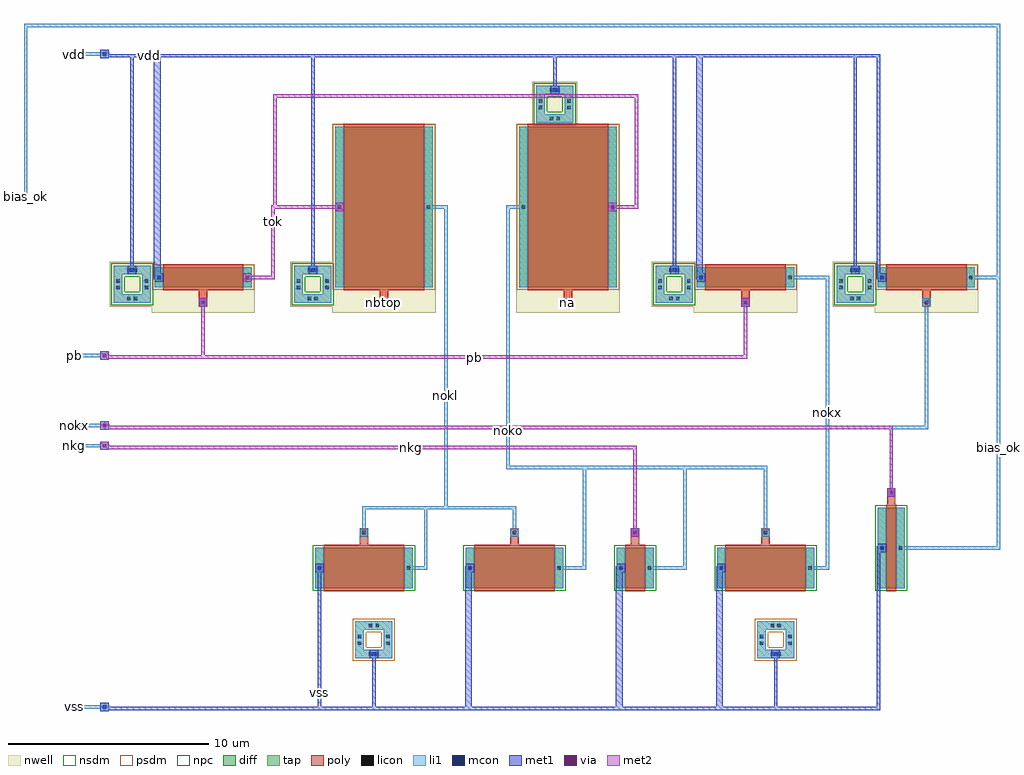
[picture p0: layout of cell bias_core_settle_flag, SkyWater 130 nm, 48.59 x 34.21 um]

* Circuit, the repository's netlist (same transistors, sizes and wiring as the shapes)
* extracted by klt extract --deck sky130

* cell bias_core_settle_flag
* pin bias_ok
* pin na
* pin nbtop
* pin nkg
* pin nokl
* pin noko
* pin nokx
* pin pb
* pin tok
* pin vdd
* pin vss
.SUBCKT bias_core_settle_flag bias_ok na nbtop nkg nokl noko nokx pb tok vdd vss
* device instance $1 r0 *1 10.42,1 nfet
M$1 nokl nokl vss vss nfet L=4U W=2U AS=0.84P AD=0.84P PS=4.84U PD=4.84U
* device instance $2 r0 *1 17.92,1 nfet
M$2 noko nokl vss vss nfet L=4U W=2U AS=0.84P AD=0.84P PS=4.84U PD=4.84U
* device instance $3 r0 *1 23.92,1 nfet
M$3 noko nkg vss vss nfet L=1U W=2U AS=0.84P AD=0.84P PS=4.84U PD=4.84U
* device instance $4 r0 *1 30.42,1 nfet
M$4 nokx noko vss vss nfet L=4U W=2U AS=0.84P AD=0.84P PS=4.84U PD=4.84U
* device instance $5 r0 *1 36.67,2 nfet
M$5 bias_ok nokx vss vss nfet L=0.5U W=4U AS=1.68P AD=1.68P PS=8.84U PD=8.84U
* device instance $6 r0 *1 2.42,15.47 pfet
M$6 tok pb vdd vdd pfet L=4U W=1U AS=0.42P AD=0.42P PS=2.84U PD=2.84U
* device instance $7 r0 *1 29.42,15.47 pfet
M$7 nokx pb vdd vdd pfet L=4U W=1U AS=0.42P AD=0.42P PS=2.84U PD=2.84U
* device instance $8 r0 *1 38.42,15.47 pfet
M$8 bias_ok nokx vdd vdd pfet L=4U W=1U AS=0.42P AD=0.42P PS=2.84U PD=2.84U
* device instance $9 r0 *1 11.42,18.97 pfet
M$9 nokl nbtop tok vdd pfet L=4U W=8U AS=3.36P AD=3.36P PS=16.84U PD=16.84U
* device instance $10 r0 *1 20.58,18.97 pfet
M$10 tok na noko vdd pfet L=4U W=8U AS=3.36P AD=3.36P PS=16.84U PD=16.84U
.ENDS bias_core_settle_flag

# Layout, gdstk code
from math import pi, radians
import gdstk
lib = gdstk.Library(unit=1e-6, precision=1e-09)
def R(c, l, rs):  # rectangles x0, y0, x1, y1
    for r in rs: c.add(gdstk.rectangle(r[:2], r[2:], *l))
def P(c, l, *ps):  # polygons
    for p in ps: c.add(gdstk.Polygon(p, *l))
nwell = (64, 20)
diff = (65, 20)
tap = (65, 44)
poly = (66, 20)
licon = (66, 44)
li1 = (67, 20)
mcon = (67, 44)
met1 = (68, 20)
via = (68, 44)
met2 = (69, 20)
nsdm = (93, 44)
psdm = (94, 20)
npc = (95, 20)

mos_array = lib.new_cell('mos_array')
R(mos_array, nwell, [(-0.15,-0.15,4.99,2.27)])
R(mos_array, diff, [(0,0,4.84,1)])
R(mos_array, poly, [(0.42,-0.15,4.42,1), (0.42,1,4.42,1.15), (0.42,1,4.42,1.15), (2.21,1.15,2.63,1.97)])
R(mos_array, licon, [(0.125,0.415,0.295,0.585), (4.545,0.415,4.715,0.585), (2.335,1.675,2.505,1.845)])
R(mos_array, li1, [(0,0,0.42,1), (4.42,0,4.84,1), (2.21,1.55,2.63,1.97)])
R(mos_array, psdm, [(-0.125,-0.125,4.965,1.125)])
R(mos_array, npc, [(2.24,1.58,2.6,1.94)])

mpok__mpok_pfet = lib.new_cell('mpok__mpok_pfet')
mpok__mpok_pfet.add(gdstk.Reference(mos_array, (0,0)))

mos_array_1 = lib.new_cell('mos_array$1')
R(mos_array_1, nwell, [(-0.15,-0.15,4.99,9.27)])
R(mos_array_1, diff, [(0,0,4.84,8)])
R(mos_array_1, poly, [(0.42,-0.15,4.42,8), (0.42,8,4.42,8.15), (0.42,8,4.42,8.15), (2.21,8.15,2.63,8.97)])
R(mos_array_1, licon, [(0.125,3.915,0.295,4.085), (4.545,3.915,4.715,4.085), (2.335,8.675,2.505,8.845)])
R(mos_array_1, li1, [(0,0,0.42,8), (4.42,0,4.84,8), (2.21,8.55,2.63,8.97)])
R(mos_array_1, psdm, [(-0.125,-0.125,4.965,8.125)])
R(mos_array_1, npc, [(2.24,8.58,2.6,8.94)])

mokb__mokb_pfet = lib.new_cell('mokb__mokb_pfet')
mokb__mokb_pfet.add(gdstk.Reference(mos_array_1, (0,0)))

mos_array_2 = lib.new_cell('mos_array$2')
R(mos_array_2, nwell, [(-0.15,-0.15,4.99,9.27)])
R(mos_array_2, diff, [(0,0,4.84,8)])
R(mos_array_2, poly, [(0.42,-0.15,4.42,8), (0.42,8,4.42,8.15), (0.42,8,4.42,8.15), (2.21,8.15,2.63,8.97)])
R(mos_array_2, licon, [(0.125,3.915,0.295,4.085), (4.545,3.915,4.715,4.085), (2.335,8.675,2.505,8.845)])
R(mos_array_2, li1, [(0,0,0.42,8), (4.42,0,4.84,8), (2.21,8.55,2.63,8.97)])
R(mos_array_2, psdm, [(-0.125,-0.125,4.965,8.125)])
R(mos_array_2, npc, [(2.24,8.58,2.6,8.94)])

moka__moka_pfet = lib.new_cell('moka__moka_pfet')
moka__moka_pfet.add(gdstk.Reference(mos_array_2, (0,0)))

mos_array_3 = lib.new_cell('mos_array$3')
R(mos_array_3, nwell, [(-0.15,-0.15,4.99,2.27)])
R(mos_array_3, diff, [(0,0,4.84,1)])
R(mos_array_3, poly, [(0.42,-0.15,4.42,1), (0.42,1,4.42,1.15), (0.42,1,4.42,1.15), (2.21,1.15,2.63,1.97)])
R(mos_array_3, licon, [(0.125,0.415,0.295,0.585), (4.545,0.415,4.715,0.585), (2.335,1.675,2.505,1.845)])
R(mos_array_3, li1, [(0,0,0.42,1), (4.42,0,4.84,1), (2.21,1.55,2.63,1.97)])
R(mos_array_3, psdm, [(-0.125,-0.125,4.965,1.125)])
R(mos_array_3, npc, [(2.24,1.58,2.6,1.94)])

mok2p__mok2p_pfet = lib.new_cell('mok2p__mok2p_pfet')
mok2p__mok2p_pfet.add(gdstk.Reference(mos_array_3, (0,0)))

mos_array_4 = lib.new_cell('mos_array$4')
R(mos_array_4, nwell, [(-0.15,-0.15,4.99,2.27)])
R(mos_array_4, diff, [(0,0,4.84,1)])
R(mos_array_4, poly, [(0.42,-0.15,4.42,1), (0.42,1,4.42,1.15), (0.42,1,4.42,1.15), (2.21,1.15,2.63,1.97)])
R(mos_array_4, licon, [(0.125,0.415,0.295,0.585), (4.545,0.415,4.715,0.585), (2.335,1.675,2.505,1.845)])
R(mos_array_4, li1, [(0,0,0.42,1), (4.42,0,4.84,1), (2.21,1.55,2.63,1.97)])
R(mos_array_4, psdm, [(-0.125,-0.125,4.965,1.125)])
R(mos_array_4, npc, [(2.24,1.58,2.6,1.94)])

mo1p__mo1p_pfet = lib.new_cell('mo1p__mo1p_pfet')
mo1p__mo1p_pfet.add(gdstk.Reference(mos_array_4, (0,0)))

mos_array_5 = lib.new_cell('mos_array$5')
R(mos_array_5, diff, [(0,0,4.84,2)])
R(mos_array_5, poly, [(0.42,-0.15,4.42,2), (0.42,2,4.42,2.15), (0.42,2,4.42,2.15), (2.21,2.15,2.63,2.97)])
R(mos_array_5, licon, [(0.125,0.915,0.295,1.085), (4.545,0.915,4.715,1.085), (2.335,2.675,2.505,2.845)])
R(mos_array_5, li1, [(0,0,0.42,2), (4.42,0,4.84,2), (2.21,2.55,2.63,2.97)])
R(mos_array_5, nsdm, [(-0.125,-0.125,4.965,2.125)])
R(mos_array_5, npc, [(2.24,2.58,2.6,2.94)])

mol1__mol1_nfet = lib.new_cell('mol1__mol1_nfet')
mol1__mol1_nfet.add(gdstk.Reference(mos_array_5, (0,0)))

mos_array_6 = lib.new_cell('mos_array$6')
R(mos_array_6, diff, [(0,0,4.84,2)])
R(mos_array_6, poly, [(0.42,-0.15,4.42,2), (0.42,2,4.42,2.15), (0.42,2,4.42,2.15), (2.21,2.15,2.63,2.97)])
R(mos_array_6, licon, [(0.125,0.915,0.295,1.085), (4.545,0.915,4.715,1.085), (2.335,2.675,2.505,2.845)])
R(mos_array_6, li1, [(0,0,0.42,2), (4.42,0,4.84,2), (2.21,2.55,2.63,2.97)])
R(mos_array_6, nsdm, [(-0.125,-0.125,4.965,2.125)])
R(mos_array_6, npc, [(2.24,2.58,2.6,2.94)])

mol2__mol2_nfet = lib.new_cell('mol2__mol2_nfet')
mol2__mol2_nfet.add(gdstk.Reference(mos_array_6, (0,0)))

mos_array_7 = lib.new_cell('mos_array$7')
R(mos_array_7, diff, [(0,0,1.84,2)])
R(mos_array_7, poly, [(0.42,-0.15,1.42,2), (0.42,2,1.42,2.15), (0.42,2,1.42,2.15), (0.71,2.15,1.13,2.97)])
R(mos_array_7, licon, [(0.125,0.915,0.295,1.085), (1.545,0.915,1.715,1.085), (0.835,2.675,1.005,2.845)])
R(mos_array_7, li1, [(0,0,0.42,2), (1.42,0,1.84,2), (0.71,2.55,1.13,2.97)])
R(mos_array_7, nsdm, [(-0.125,-0.125,1.965,2.125)])
R(mos_array_7, npc, [(0.74,2.58,1.1,2.94)])

mokc__mokc_nfet = lib.new_cell('mokc__mokc_nfet')
mokc__mokc_nfet.add(gdstk.Reference(mos_array_7, (0,0)))

mos_array_8 = lib.new_cell('mos_array$8')
R(mos_array_8, diff, [(0,0,4.84,2)])
R(mos_array_8, poly, [(0.42,-0.15,4.42,2), (0.42,2,4.42,2.15), (0.42,2,4.42,2.15), (2.21,2.15,2.63,2.97)])
R(mos_array_8, licon, [(0.125,0.915,0.295,1.085), (4.545,0.915,4.715,1.085), (2.335,2.675,2.505,2.845)])
R(mos_array_8, li1, [(0,0,0.42,2), (4.42,0,4.84,2), (2.21,2.55,2.63,2.97)])
R(mos_array_8, nsdm, [(-0.125,-0.125,4.965,2.125)])
R(mos_array_8, npc, [(2.24,2.58,2.6,2.94)])

mok2__mok2_nfet = lib.new_cell('mok2__mok2_nfet')
mok2__mok2_nfet.add(gdstk.Reference(mos_array_8, (0,0)))

mos_array_9 = lib.new_cell('mos_array$9')
R(mos_array_9, diff, [(0,0,1.34,4)])
R(mos_array_9, poly, [(0.42,-0.15,0.92,4), (0.42,4,0.92,4.15), (0.42,4,0.92,4.15), (0.46,4.15,0.88,4.97)])
R(mos_array_9, licon, [(0.125,1.915,0.295,2.085), (1.045,1.915,1.215,2.085), (0.585,4.675,0.755,4.845)])
R(mos_array_9, li1, [(0,0,0.42,4), (0.92,0,1.34,4), (0.46,4.55,0.88,4.97)])
R(mos_array_9, nsdm, [(-0.125,-0.125,1.465,4.125)])
R(mos_array_9, npc, [(0.49,4.58,0.85,4.94)])

mo1n__mo1n_nfet = lib.new_cell('mo1n__mo1n_nfet')
mo1n__mo1n_nfet.add(gdstk.Reference(mos_array_9, (0,0)))

guard_ring = lib.new_cell('guard_ring')
R(guard_ring, nwell, [(-0.2,-0.2,2.04,2.04)])
P(guard_ring, tap, [(0,0),(0,1.42),(0.42,1.42),(0.42,0.42),(1.42,0.42),(1.42,1.42),(0,1.42),(0,1.84),(1.84,1.84),(1.84,0)])
R(guard_ring, licon, [(0.67,0.125,0.84,0.295), (1,0.125,1.17,0.295), (0.125,0.67,0.295,0.84), (1.545,0.67,1.715,0.84), (0.125,1,0.295,1.17), (1.545,1,1.715,1.17), (0.67,1.545,0.84,1.715), (1,1.545,1.17,1.715)])
P(guard_ring, li1, [(0,0),(0,1.42),(0.42,1.42),(0.42,0.42),(1.42,0.42),(1.42,1.42),(0,1.42),(0,1.84),(1.84,1.84),(1.84,0)])
P(guard_ring, nsdm, [(-0.125,-0.125),(-0.125,1.295),(0.545,1.295),(0.545,0.545),(1.295,0.545),(1.295,1.295),(-0.125,1.295),(-0.125,1.965),(1.965,1.965),(1.965,-0.125)])

nwt_mpok__nwt_mpok = lib.new_cell('nwt_mpok__nwt_mpok')
nwt_mpok__nwt_mpok.add(gdstk.Reference(guard_ring, (0,0)))

guard_ring_1 = lib.new_cell('guard_ring$1')
R(guard_ring_1, nwell, [(-0.2,-0.2,2.04,2.04)])
P(guard_ring_1, tap, [(0,0),(0,1.42),(0.42,1.42),(0.42,0.42),(1.42,0.42),(1.42,1.42),(0,1.42),(0,1.84),(1.84,1.84),(1.84,0)])
R(guard_ring_1, licon, [(0.67,0.125,0.84,0.295), (1,0.125,1.17,0.295), (0.125,0.67,0.295,0.84), (1.545,0.67,1.715,0.84), (0.125,1,0.295,1.17), (1.545,1,1.715,1.17), (0.67,1.545,0.84,1.715), (1,1.545,1.17,1.715)])
P(guard_ring_1, li1, [(0,0),(0,1.42),(0.42,1.42),(0.42,0.42),(1.42,0.42),(1.42,1.42),(0,1.42),(0,1.84),(1.84,1.84),(1.84,0)])
P(guard_ring_1, nsdm, [(-0.125,-0.125),(-0.125,1.295),(0.545,1.295),(0.545,0.545),(1.295,0.545),(1.295,1.295),(-0.125,1.295),(-0.125,1.965),(1.965,1.965),(1.965,-0.125)])

nwt_mokb__nwt_mokb = lib.new_cell('nwt_mokb__nwt_mokb')
nwt_mokb__nwt_mokb.add(gdstk.Reference(guard_ring_1, (0,0)))

guard_ring_2 = lib.new_cell('guard_ring$2')
R(guard_ring_2, nwell, [(-0.2,-0.2,2.04,2.04)])
P(guard_ring_2, tap, [(0,0),(0,1.42),(0.42,1.42),(0.42,0.42),(1.42,0.42),(1.42,1.42),(0,1.42),(0,1.84),(1.84,1.84),(1.84,0)])
R(guard_ring_2, licon, [(0.67,0.125,0.84,0.295), (1,0.125,1.17,0.295), (0.125,0.67,0.295,0.84), (1.545,0.67,1.715,0.84), (0.125,1,0.295,1.17), (1.545,1,1.715,1.17), (0.67,1.545,0.84,1.715), (1,1.545,1.17,1.715)])
P(guard_ring_2, li1, [(0,0),(0,1.42),(0.42,1.42),(0.42,0.42),(1.42,0.42),(1.42,1.42),(0,1.42),(0,1.84),(1.84,1.84),(1.84,0)])
P(guard_ring_2, nsdm, [(-0.125,-0.125),(-0.125,1.295),(0.545,1.295),(0.545,0.545),(1.295,0.545),(1.295,1.295),(-0.125,1.295),(-0.125,1.965),(1.965,1.965),(1.965,-0.125)])

nwt_moka__nwt_moka = lib.new_cell('nwt_moka__nwt_moka')
nwt_moka__nwt_moka.add(gdstk.Reference(guard_ring_2, (0,0)))

guard_ring_3 = lib.new_cell('guard_ring$3')
R(guard_ring_3, nwell, [(-0.2,-0.2,2.04,2.04)])
P(guard_ring_3, tap, [(0,0),(0,1.42),(0.42,1.42),(0.42,0.42),(1.42,0.42),(1.42,1.42),(0,1.42),(0,1.84),(1.84,1.84),(1.84,0)])
R(guard_ring_3, licon, [(0.67,0.125,0.84,0.295), (1,0.125,1.17,0.295), (0.125,0.67,0.295,0.84), (1.545,0.67,1.715,0.84), (0.125,1,0.295,1.17), (1.545,1,1.715,1.17), (0.67,1.545,0.84,1.715), (1,1.545,1.17,1.715)])
P(guard_ring_3, li1, [(0,0),(0,1.42),(0.42,1.42),(0.42,0.42),(1.42,0.42),(1.42,1.42),(0,1.42),(0,1.84),(1.84,1.84),(1.84,0)])
P(guard_ring_3, nsdm, [(-0.125,-0.125),(-0.125,1.295),(0.545,1.295),(0.545,0.545),(1.295,0.545),(1.295,1.295),(-0.125,1.295),(-0.125,1.965),(1.965,1.965),(1.965,-0.125)])

nwt_mok2p__nwt_mok2p = lib.new_cell('nwt_mok2p__nwt_mok2p')
nwt_mok2p__nwt_mok2p.add(gdstk.Reference(guard_ring_3, (0,0)))

guard_ring_4 = lib.new_cell('guard_ring$4')
R(guard_ring_4, nwell, [(-0.2,-0.2,2.04,2.04)])
P(guard_ring_4, tap, [(0,0),(0,1.42),(0.42,1.42),(0.42,0.42),(1.42,0.42),(1.42,1.42),(0,1.42),(0,1.84),(1.84,1.84),(1.84,0)])
R(guard_ring_4, licon, [(0.67,0.125,0.84,0.295), (1,0.125,1.17,0.295), (0.125,0.67,0.295,0.84), (1.545,0.67,1.715,0.84), (0.125,1,0.295,1.17), (1.545,1,1.715,1.17), (0.67,1.545,0.84,1.715), (1,1.545,1.17,1.715)])
P(guard_ring_4, li1, [(0,0),(0,1.42),(0.42,1.42),(0.42,0.42),(1.42,0.42),(1.42,1.42),(0,1.42),(0,1.84),(1.84,1.84),(1.84,0)])
P(guard_ring_4, nsdm, [(-0.125,-0.125),(-0.125,1.295),(0.545,1.295),(0.545,0.545),(1.295,0.545),(1.295,1.295),(-0.125,1.295),(-0.125,1.965),(1.965,1.965),(1.965,-0.125)])

nwt_mo1p__nwt_mo1p = lib.new_cell('nwt_mo1p__nwt_mo1p')
nwt_mo1p__nwt_mo1p.add(gdstk.Reference(guard_ring_4, (0,0)))

guard_ring_5 = lib.new_cell('guard_ring$5')
P(guard_ring_5, tap, [(0,0),(0,1.42),(0.42,1.42),(0.42,0.42),(1.42,0.42),(1.42,1.42),(0,1.42),(0,1.84),(1.84,1.84),(1.84,0)])
R(guard_ring_5, licon, [(0.67,0.125,0.84,0.295), (1,0.125,1.17,0.295), (0.125,0.67,0.295,0.84), (1.545,0.67,1.715,0.84), (0.125,1,0.295,1.17), (1.545,1,1.715,1.17), (0.67,1.545,0.84,1.715), (1,1.545,1.17,1.715)])
P(guard_ring_5, li1, [(0,0),(0,1.42),(0.42,1.42),(0.42,0.42),(1.42,0.42),(1.42,1.42),(0,1.42),(0,1.84),(1.84,1.84),(1.84,0)])
P(guard_ring_5, psdm, [(-0.125,-0.125),(-0.125,1.295),(0.545,1.295),(0.545,0.545),(1.295,0.545),(1.295,1.295),(-0.125,1.295),(-0.125,1.965),(1.965,1.965),(1.965,-0.125)])

pst1__pst1 = lib.new_cell('pst1__pst1')
pst1__pst1.add(gdstk.Reference(guard_ring_5, (0,0)))

guard_ring_6 = lib.new_cell('guard_ring$6')
P(guard_ring_6, tap, [(0,0),(0,1.42),(0.42,1.42),(0.42,0.42),(1.42,0.42),(1.42,1.42),(0,1.42),(0,1.84),(1.84,1.84),(1.84,0)])
R(guard_ring_6, licon, [(0.67,0.125,0.84,0.295), (1,0.125,1.17,0.295), (0.125,0.67,0.295,0.84), (1.545,0.67,1.715,0.84), (0.125,1,0.295,1.17), (1.545,1,1.715,1.17), (0.67,1.545,0.84,1.715), (1,1.545,1.17,1.715)])
P(guard_ring_6, li1, [(0,0),(0,1.42),(0.42,1.42),(0.42,0.42),(1.42,0.42),(1.42,1.42),(0,1.42),(0,1.84),(1.84,1.84),(1.84,0)])
P(guard_ring_6, psdm, [(-0.125,-0.125),(-0.125,1.295),(0.545,1.295),(0.545,0.545),(1.295,0.545),(1.295,1.295),(-0.125,1.295),(-0.125,1.965),(1.965,1.965),(1.965,-0.125)])

pst2__pst2 = lib.new_cell('pst2__pst2')
pst2__pst2.add(gdstk.Reference(guard_ring_6, (0,0)))

stub_vdd__promo_stub = lib.new_cell('stub_vdd__promo_stub')
R(stub_vdd__promo_stub, li1, [(0,0,1.5,0.17)])

stub_vss__promo_stub = lib.new_cell('stub_vss__promo_stub')
R(stub_vss__promo_stub, li1, [(0,0,1.5,0.17)])

stub_pb__promo_stub = lib.new_cell('stub_pb__promo_stub')
R(stub_pb__promo_stub, li1, [(0,0,1.5,0.17)])

stub_nokx__promo_stub = lib.new_cell('stub_nokx__promo_stub')
R(stub_nokx__promo_stub, li1, [(0,0,1.5,0.17)])

stub_nkg__promo_stub = lib.new_cell('stub_nkg__promo_stub')
R(stub_nkg__promo_stub, li1, [(0,0,1.5,0.17)])

stub_bias_ok__promo_stub = lib.new_cell('stub_bias_ok__promo_stub_v')
R(stub_bias_ok__promo_stub, li1, [(0,0,0.17,1.5)])

bias_core_settle_flag = lib.new_cell('bias_core_settle_flag')
R(bias_core_settle_flag, li1, [(-2.71,-6.125,-2.29,-5.705), (10.71,-3.5,11.13,-3.08), (10.71,-3.5,11.13,-3.08), (30.71,-3.5,31.13,-3.08), (30.71,-3.5,31.13,-3.08), (8,0.79,8.42,1.21), (8,0.79,8.42,1.21), (15.5,0.79,15.92,1.21), (15.5,0.79,15.92,1.21), (23,0.79,23.42,1.21), (23,0.79,23.42,1.21), (28,0.79,28.42,1.21), (28,0.79,28.42,1.21), (36,1.79,36.42,2.21), (23.71,2.55,24.13,2.97), (10.21,2.76,10.63,2.93), (10.21,2.76,10.63,2.93), (17.71,2.76,18.13,2.93), (17.71,2.76,18.13,2.93), (30.21,2.76,30.63,2.93), (36.46,4.55,36.88,4.97), (36.46,4.76,36.88,4.93), (36.46,4.76,36.88,4.93), (-2.71,6.875,-2.29,7.295), (-2.71,7.875,-2.29,8.295), (-2.71,11.375,-2.29,11.795), (2.21,14,2.63,14.42), (2.21,14,2.63,14.42), (29.21,14,29.63,14.42), (38.21,14.04,38.63,14.21), (0,15.26,0.42,15.68), (0,15.26,0.42,15.68), (4.42,15.26,4.84,15.68), (27,15.26,27.42,15.68), (27,15.26,27.42,15.68), (36,15.26,36.42,15.68), (-1.33,15.62,-0.91,16.04), (-1.33,15.62,-0.91,16.04), (7.67,15.62,8.09,16.04), (7.67,15.62,8.09,16.04), (25.67,15.62,26.09,16.04), (25.67,15.62,26.09,16.04), (34.67,15.62,35.09,16.04), (34.67,15.62,35.09,16.04), (9,18.76,9.42,19.18), (9,18.76,9.42,19.18), (22.58,18.76,23,19.18), (19.72,24.59,20.14,25.01), (19.72,24.59,20.14,25.01), (-2.71,26.375,-2.29,26.795)])
R(bias_core_settle_flag, mcon, [(-2.585,-6,-2.415,-5.83), (10.835,-3.375,11.005,-3.205), (10.835,-3.375,11.005,-3.205), (30.835,-3.375,31.005,-3.205), (30.835,-3.375,31.005,-3.205), (8.125,0.915,8.295,1.085), (8.125,0.915,8.295,1.085), (15.625,0.915,15.795,1.085), (15.625,0.915,15.795,1.085), (23.125,0.915,23.295,1.085), (23.125,0.915,23.295,1.085), (28.125,0.915,28.295,1.085), (28.125,0.915,28.295,1.085), (36.125,1.915,36.295,2.085), (23.835,2.675,24.005,2.845), (36.585,4.675,36.755,4.845), (-2.585,7,-2.415,7.17), (-2.585,8,-2.415,8.17), (-2.585,11.5,-2.415,11.67), (2.335,14.125,2.505,14.295), (2.335,14.125,2.505,14.295), (29.335,14.125,29.505,14.295), (0.125,15.385,0.295,15.555), (0.125,15.385,0.295,15.555), (4.545,15.385,4.715,15.555), (27.125,15.385,27.295,15.555), (27.125,15.385,27.295,15.555), (36.125,15.385,36.295,15.555), (-1.205,15.745,-1.035,15.915), (-1.205,15.745,-1.035,15.915), (7.795,15.745,7.965,15.915), (7.795,15.745,7.965,15.915), (25.795,15.745,25.965,15.915), (25.795,15.745,25.965,15.915), (34.795,15.745,34.965,15.915), (34.795,15.745,34.965,15.915), (9.125,18.885,9.295,19.055), (9.125,18.885,9.295,19.055), (22.705,18.885,22.875,19.055), (19.845,24.715,20.015,24.885), (19.845,24.715,20.015,24.885), (-2.585,26.5,-2.415,26.67)])
R(bias_core_settle_flag, met1, [(-2.71,-6.125,-2.29,-5.705), (10.71,-3.5,11.13,-3.08), (10.71,-3.5,11.13,-3.08), (30.71,-3.5,31.13,-3.08), (30.71,-3.5,31.13,-3.08), (8,0.79,8.42,1.21), (8,0.79,8.42,1.21), (15.5,0.79,15.92,1.21), (15.5,0.79,15.92,1.21), (23,0.79,23.42,1.21), (23,0.79,23.42,1.21), (28,0.79,28.42,1.21), (28,0.79,28.42,1.21), (36,1.79,36.42,2.21), (23.71,2.55,24.13,2.97), (23.71,2.55,24.13,2.97), (36.46,4.55,36.88,4.97), (36.46,4.55,36.88,4.97), (-2.71,6.875,-2.29,7.295), (-2.71,6.875,-2.29,7.295), (-2.71,7.875,-2.29,8.295), (-2.71,7.875,-2.29,8.295), (-2.71,11.375,-2.29,11.795), (-2.71,11.375,-2.29,11.795), (2.21,14,2.63,14.42), (2.21,14,2.63,14.42), (2.21,14,2.63,14.42), (2.21,14,2.63,14.42), (29.21,14,29.63,14.42), (29.21,14,29.63,14.42), (0,15.26,0.42,15.68), (0,15.26,0.42,15.68), (4.42,15.26,4.84,15.68), (4.42,15.26,4.84,15.68), (27,15.26,27.42,15.68), (27,15.26,27.42,15.68), (36,15.26,36.42,15.68), (-1.33,15.62,-0.91,16.04), (-1.33,15.62,-0.91,16.04), (7.67,15.62,8.09,16.04), (7.67,15.62,8.09,16.04), (25.67,15.62,26.09,16.04), (25.67,15.62,26.09,16.04), (34.67,15.62,35.09,16.04), (34.67,15.62,35.09,16.04), (9,18.76,9.42,19.18), (9,18.76,9.42,19.18), (9,18.76,9.42,19.18), (9,18.76,9.42,19.18), (22.58,18.76,23,19.18), (22.58,18.76,23,19.18), (19.72,24.59,20.14,25.01), (19.72,24.59,20.14,25.01), (-2.71,26.375,-2.29,26.795)])
R(bias_core_settle_flag, via, [(23.845,2.685,23.995,2.835), (36.595,4.685,36.745,4.835), (-2.575,7.01,-2.425,7.16), (-2.575,8.01,-2.425,8.16), (-2.575,11.51,-2.425,11.66), (2.345,14.135,2.495,14.285), (2.345,14.135,2.495,14.285), (29.345,14.135,29.495,14.285), (4.555,15.395,4.705,15.545), (9.135,18.895,9.285,19.045), (9.135,18.895,9.285,19.045), (22.715,18.895,22.865,19.045)])
R(bias_core_settle_flag, met2, [(23.71,2.55,24.13,2.97), (36.46,4.55,36.88,4.97), (-2.71,6.875,-2.29,7.295), (-2.71,7.875,-2.29,8.295), (-2.71,11.375,-2.29,11.795), (2.21,14,2.63,14.42), (2.21,14,2.63,14.42), (29.21,14,29.63,14.42), (4.42,15.26,4.84,15.68), (9,18.76,9.42,19.18), (9,18.76,9.42,19.18), (22.58,18.76,23,19.18)])
bias_core_settle_flag.add(gdstk.FlexPath([(13.63,18.97),(14.5,18.97),(14.5,4),(17.92,4),(17.92,2.76)], 0.17, ends="flush", simple_path=True, layer=67, datatype=20))  # li1
bias_core_settle_flag.add(gdstk.FlexPath([(17.92,2.76),(17.92,4),(10.42,4),(10.42,2.76)], 0.17, ends="flush", simple_path=True, layer=67, datatype=20))  # li1
bias_core_settle_flag.add(gdstk.FlexPath([(10.42,2.76),(10.42,4),(13.5,4),(13.5,1),(12.63,1)], 0.17, ends="flush", simple_path=True, layer=67, datatype=20))  # li1
bias_core_settle_flag.add(gdstk.FlexPath([(18.37,18.97),(17.6,18.97),(17.6,6),(21.4,6),(21.4,1),(20.13,1)], 0.17, ends="flush", simple_path=True, layer=67, datatype=20))  # li1
bias_core_settle_flag.add(gdstk.FlexPath([(20.13,1),(21.4,1),(21.4,6),(26.4,6),(26.4,1),(24.63,1)], 0.17, ends="flush", simple_path=True, layer=67, datatype=20))  # li1
bias_core_settle_flag.add(gdstk.FlexPath([(24.63,1),(26.4,1),(26.4,6),(30.42,6),(30.42,2.76)], 0.17, ends="flush", simple_path=True, layer=67, datatype=20))  # li1
bias_core_settle_flag.add(gdstk.FlexPath([(31.63,15.47),(33.5,15.47),(33.5,1),(32.63,1)], 0.17, ends="flush", simple_path=True, layer=67, datatype=20))  # li1
bias_core_settle_flag.add(gdstk.FlexPath([(32.63,1),(33.5,1),(33.5,8),(36.67,8),(36.67,4.76)], 0.17, ends="flush", simple_path=True, layer=67, datatype=20))  # li1
bias_core_settle_flag.add(gdstk.FlexPath([(36.67,4.76),(36.67,8),(38.42,8),(38.42,14.21)], 0.17, ends="flush", simple_path=True, layer=67, datatype=20))  # li1
bias_core_settle_flag.add(gdstk.FlexPath([(40.63,15.47),(42,15.47),(42,2),(37.13,2)], 0.17, ends="flush", simple_path=True, layer=67, datatype=20))  # li1
bias_core_settle_flag.add(gdstk.FlexPath([(40.63,15.47),(42,15.47),(42,28),(-6.415,28),(-6.415,21)], 0.17, ends="flush", simple_path=True, layer=67, datatype=20))  # li1
bias_core_settle_flag.add(gdstk.FlexPath([(-1.12,15.83),(-1.12,26.5),(0.04,26.5),(0.04,15.47),(0.21,15.47)], 0.17, ends="flush", simple_path=True, layer=68, datatype=20))  # met1
bias_core_settle_flag.add(gdstk.FlexPath([(0.21,15.47),(0.21,26.5),(7.88,26.5),(7.88,15.83)], 0.17, ends="flush", simple_path=True, layer=68, datatype=20))  # met1
bias_core_settle_flag.add(gdstk.FlexPath([(7.88,15.83),(7.88,26.5),(19.93,26.5),(19.93,24.8)], 0.17, ends="flush", simple_path=True, layer=68, datatype=20))  # met1
bias_core_settle_flag.add(gdstk.FlexPath([(19.93,24.8),(19.93,26.5),(25.88,26.5),(25.88,15.83)], 0.17, ends="flush", simple_path=True, layer=68, datatype=20))  # met1
bias_core_settle_flag.add(gdstk.FlexPath([(25.88,15.83),(25.88,26.5),(27.04,26.5),(27.04,15.47),(27.21,15.47)], 0.17, ends="flush", simple_path=True, layer=68, datatype=20))  # met1
bias_core_settle_flag.add(gdstk.FlexPath([(27.21,15.47),(27.21,26.5),(34.88,26.5),(34.88,15.83)], 0.17, ends="flush", simple_path=True, layer=68, datatype=20))  # met1
bias_core_settle_flag.add(gdstk.FlexPath([(34.88,15.83),(34.88,26.5),(36.04,26.5),(36.04,15.47),(36.21,15.47)], 0.17, ends="flush", simple_path=True, layer=68, datatype=20))  # met1
bias_core_settle_flag.add(gdstk.FlexPath([(-1.12,15.83),(-1.12,26.5),(-2.33,26.5),(-2.33,26.585),(-2.5,26.585)], 0.17, ends="flush", simple_path=True, layer=68, datatype=20))  # met1
bias_core_settle_flag.add(gdstk.FlexPath([(8.21,1),(8.21,-6),(10.92,-6),(10.92,-3.29)], 0.17, ends="flush", simple_path=True, layer=68, datatype=20))  # met1
bias_core_settle_flag.add(gdstk.FlexPath([(10.92,-3.29),(10.92,-6),(15.54,-6),(15.54,1),(15.71,1)], 0.17, ends="flush", simple_path=True, layer=68, datatype=20))  # met1
bias_core_settle_flag.add(gdstk.FlexPath([(15.71,1),(15.71,-6),(23.04,-6),(23.04,1),(23.21,1)], 0.17, ends="flush", simple_path=True, layer=68, datatype=20))  # met1
bias_core_settle_flag.add(gdstk.FlexPath([(23.21,1),(23.21,-6),(28.04,-6),(28.04,1),(28.21,1)], 0.17, ends="flush", simple_path=True, layer=68, datatype=20))  # met1
bias_core_settle_flag.add(gdstk.FlexPath([(28.21,1),(28.21,-6),(30.92,-6),(30.92,-3.29)], 0.17, ends="flush", simple_path=True, layer=68, datatype=20))  # met1
bias_core_settle_flag.add(gdstk.FlexPath([(30.92,-3.29),(30.92,-6),(36.04,-6),(36.04,2),(36.21,2)], 0.17, ends="flush", simple_path=True, layer=68, datatype=20))  # met1
bias_core_settle_flag.add(gdstk.FlexPath([(8.21,1),(8.21,-6),(-2.33,-6),(-2.33,-5.915),(-2.5,-5.915)], 0.17, ends="flush", simple_path=True, layer=68, datatype=20))  # met1
bias_core_settle_flag.add(gdstk.FlexPath([(4.63,15.47),(5.9,15.47),(5.9,18.97),(9.21,18.97)], 0.17, ends="flush", simple_path=True, layer=69, datatype=20))  # met2
bias_core_settle_flag.add(gdstk.FlexPath([(9.21,18.97),(6,18.97),(6,24.5),(24,24.5),(24,18.97),(22.79,18.97)], 0.17, ends="flush", simple_path=True, layer=69, datatype=20))  # met2
bias_core_settle_flag.add(gdstk.FlexPath([(2.42,14.21),(2.42,11.5),(29.42,11.5),(29.42,14.21)], 0.17, ends="flush", simple_path=True, layer=69, datatype=20))  # met2
bias_core_settle_flag.add(gdstk.FlexPath([(2.42,14.21),(2.42,11.5),(-2.33,11.5),(-2.33,11.585),(-2.5,11.585)], 0.17, ends="flush", simple_path=True, layer=69, datatype=20))  # met2
bias_core_settle_flag.add(gdstk.FlexPath([(36.67,4.76),(36.67,8),(-2.33,8),(-2.33,8.085),(-2.5,8.085)], 0.17, ends="flush", simple_path=True, layer=69, datatype=20))  # met2
bias_core_settle_flag.add(gdstk.FlexPath([(23.92,2.76),(23.92,7),(-2.33,7),(-2.33,7.085),(-2.5,7.085)], 0.17, ends="flush", simple_path=True, layer=69, datatype=20))  # met2
bias_core_settle_flag.add(gdstk.Reference(mpok__mpok_pfet, (0,15.97), x_reflection=True))
bias_core_settle_flag.add(gdstk.Reference(mokb__mokb_pfet, (9,22.97), x_reflection=True))
bias_core_settle_flag.add(gdstk.Reference(moka__moka_pfet, (23,22.97), rotation=pi))
bias_core_settle_flag.add(gdstk.Reference(mok2p__mok2p_pfet, (27,15.97), x_reflection=True))
bias_core_settle_flag.add(gdstk.Reference(mo1p__mo1p_pfet, (36,15.97), x_reflection=True))
bias_core_settle_flag.add(gdstk.Reference(mol1__mol1_nfet, (8,0)))
bias_core_settle_flag.add(gdstk.Reference(mol2__mol2_nfet, (15.5,0)))
bias_core_settle_flag.add(gdstk.Reference(mokc__mokc_nfet, (23,0)))
bias_core_settle_flag.add(gdstk.Reference(mok2__mok2_nfet, (28,0)))
bias_core_settle_flag.add(gdstk.Reference(mo1n__mo1n_nfet, (36,0)))
bias_core_settle_flag.add(gdstk.Reference(nwt_mpok__nwt_mpok, (-2.04,14.2)))
bias_core_settle_flag.add(gdstk.Reference(nwt_mokb__nwt_mokb, (6.96,14.2)))
bias_core_settle_flag.add(gdstk.Reference(nwt_moka__nwt_moka, (19.01,23.17)))
bias_core_settle_flag.add(gdstk.Reference(nwt_mok2p__nwt_mok2p, (24.96,14.2)))
bias_core_settle_flag.add(gdstk.Reference(nwt_mo1p__nwt_mo1p, (33.96,14.2)))
bias_core_settle_flag.add(gdstk.Reference(pst1__pst1, (10,-3.5)))
bias_core_settle_flag.add(gdstk.Reference(pst2__pst2, (30,-3.5)))
bias_core_settle_flag.add(gdstk.Reference(stub_vdd__promo_stub, (-4,26.5)))
bias_core_settle_flag.add(gdstk.Reference(stub_vss__promo_stub, (-4,-6)))
bias_core_settle_flag.add(gdstk.Reference(stub_pb__promo_stub, (-4,11.5)))
bias_core_settle_flag.add(gdstk.Reference(stub_nokx__promo_stub, (-4,8)))
bias_core_settle_flag.add(gdstk.Reference(stub_nkg__promo_stub, (-4,7)))
bias_core_settle_flag.add(gdstk.Reference(stub_bias_ok__promo_stub, (-6.5,19.5)))
bias_core_settle_flag.add(gdstk.Label('vdd', (-0.275,26.5), layer=68, texttype=5))
bias_core_settle_flag.add(gdstk.Label('vss', (8.21,-5.21), layer=68, texttype=5))
bias_core_settle_flag.add(gdstk.Label('tok', (5.9,18.24), layer=69, texttype=5))
bias_core_settle_flag.add(gdstk.Label('pb', (15.92,11.5), layer=69, texttype=5))
bias_core_settle_flag.add(gdstk.Label('nkg', (12.788,7), layer=69, texttype=5))
bias_core_settle_flag.add(gdstk.Label('nokl', (14.5,9.59), layer=67, texttype=5))
bias_core_settle_flag.add(gdstk.Label('noko', (17.6,7.835), layer=67, texttype=5))
bias_core_settle_flag.add(gdstk.Label('nokx', (33.5,8.735), layer=67, texttype=5))
bias_core_settle_flag.add(gdstk.Label('bias_ok', (42,6.985), layer=67, texttype=5))
bias_core_settle_flag.add(gdstk.Label('na', (20.58,14.21), layer=67, texttype=5))
bias_core_settle_flag.add(gdstk.Label('nbtop', (11.42,14.21), layer=67, texttype=5))
bias_core_settle_flag.add(gdstk.Label('vdd', (-4,26.585), layer=67, texttype=5))
bias_core_settle_flag.add(gdstk.Label('vss', (-4,-5.915), layer=67, texttype=5))
bias_core_settle_flag.add(gdstk.Label('pb', (-4,11.585), layer=67, texttype=5))
bias_core_settle_flag.add(gdstk.Label('nokx', (-4,8.085), layer=67, texttype=5))
bias_core_settle_flag.add(gdstk.Label('nkg', (-4,7.085), layer=67, texttype=5))
bias_core_settle_flag.add(gdstk.Label('bias_ok', (-6.415,19.5), layer=67, texttype=5))

lib.write_gds('bias_core_settle_flag.gds')
